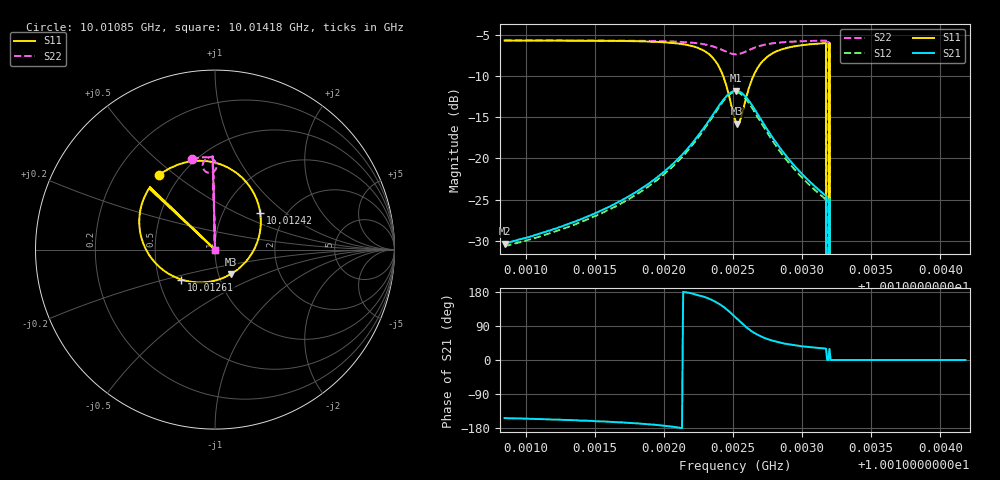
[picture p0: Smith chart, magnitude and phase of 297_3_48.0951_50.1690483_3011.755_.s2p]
#  HZ  S  RI  R  50.00
! Rohde & Schwarz Vector Network Analyzer
! Rohde-Schwarz,ZNB20-2Port,1311601062101988,3.16
! Created: UTC 12/23/2023, 4:04:23 AM
! freq[Hz]  re:S11  im:S11  re:S21  im:S21  re:S12  im:S12  re:S22  im:S22
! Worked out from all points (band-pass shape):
!   401 points, 10.01085 GHz to 10.01418 GHz, reference 50 ohm
!   highest |S21| = -11.79 dB at 10.01252 GHz (marker M1); lowest = -30.4 dB at 10.01085 GHz (marker M2)
!   |S21| within 3 dB of the highest: 10.01235 GHz to 10.01268 GHz (333.2 kHz wide, 0.00333 % of centre)
!   lowest |S11| = -15.8 dB at 10.01253 GHz (marker M3), VSWR 1.39, Z = 57.2 - j16.1 ohm
!   |S11| at or under -10 dB: 10.01243 GHz to 10.01265 GHz (218.7 kHz wide, 0.00218 % of centre); 10.01317 GHz to 10.0132 GHz (24.66 kHz wide, 0.000246 % of centre); 10.0132 GHz to end of sweep
!   |S22| runs from - to -5.7 dB; largest |S21 - S12| = 0.012
!   S11 on the Smith chart (normalised r, x): 10.01085 GHz: 0.39, +0.44; 10.01242 GHz: 1.48, +0.68; 10.01261 GHz: 0.65, -0.23; 10.01418 GHz: 1.00, +0.00
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1.0010848e10  -0.3131 0.4138  -0.0271 -0.0137  -0.0254 -0.0146  -0.1288 0.5037
1.0011406e10  -0.2549 0.4517  -0.0403 -0.0148  -0.0378 -0.0163  -0.0897 0.5118
1.0011965e10  -0.1299 0.4923  -0.0774 -0.0109  -0.074 -0.015  -0.042 0.5135
1.0012273e10  0.083 0.451  -0.1435 0.0289  -0.1411 0.0191  -0.00317 0.4959
1.0012423e10  0.2516 0.2061  -0.1768 0.1353  -0.1805 0.1241  0.00724 0.4551
1.0012515e10  0.1415 -0.0981  -0.103 0.2357  -0.1104 0.2275  -0.0245 0.4277
1.0012523e10  0.1157 -0.1187  -0.0915 0.2405  -0.0983 0.2329  -0.0288 0.4273
1.0012532e10  0.0874 -0.137  -0.0797 0.2443  -0.0849 0.2373  -0.0332 0.4276
1.0012607e10  -0.1876 -0.167  0.0253 0.2276  0.0185 0.2207  -0.0633 0.4466
1.0012673e10  -0.3436 -0.0613  0.0715 0.1744  0.0638 0.1696  -0.0688 0.4705
1.0012748e10  -0.4088 0.0617  0.0851 0.1233  0.0768 0.1207  -0.0625 0.4897
1.0013073e10  -0.3852 0.3099  0.0584 0.0385  0.0538 0.0391  -0.0237 0.5162
1.0013157e10  -0.3702 0.3363  0.0521 0.0309  0.0482 0.0318  -0.0154 0.5183
1.0013165e10  -0.3688 0.3385  0.0518 0.0303  0.0477 0.031  -0.0145 0.5185
1.0013173e10  -0.3674 0.341  0.0513 0.0297  0.0472 0.0306  -0.0139 0.5186
1.0013182e10  0 0  0 0  0 0  0 0
1.0013198e10  -0.363 0.3472  0.0497 0.0277  0.046 0.0287  -0.0116 0.519
1.0013207e10  0 0  0 0  0 0  0 0
1.0013215e10  0 0  0 0  0 0  0 0
1.0013223e10  0 0  0 0  0 0  0 0
1.0013632e10  0 0  0 0  0 0  0 0
1.0014182e10  0 0  0 0  0 0  0 0
